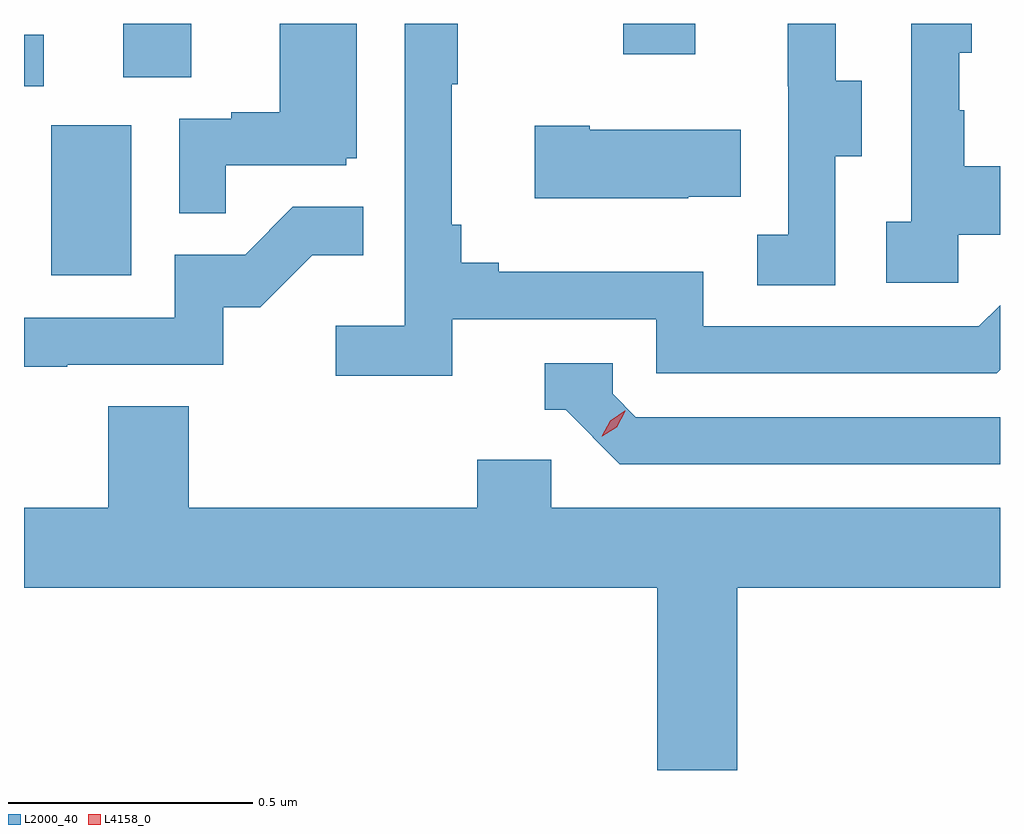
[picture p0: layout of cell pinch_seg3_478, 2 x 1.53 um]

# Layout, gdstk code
import gdstk
lib = gdstk.Library(unit=1e-6, precision=1e-09)
def R(c, l, rs):  # rectangles x0, y0, x1, y1
    for r in rs: c.add(gdstk.rectangle(r[:2], r[2:], *l))
def P(c, l, *ps):  # polygons
    for p in ps: c.add(gdstk.Polygon(p, *l))
L2000_40 = (2000, 40)
L4158_0 = (4158, 0)

pinch_seg3_478 = lib.new_cell('pinch_seg3_478')
R(pinch_seg3_478, L2000_40, [(895.034,680.244,895.198,680.551), (894.978,680.631,895.018,680.737), (895.181,680.65,895.321,680.759), (896.206,680.697,896.353,680.759)])
P(pinch_seg3_478, L2000_40, [(895.856,680.154),(896.274,680.154),(896.274,680.043),(896.971,680.043),(896.978,680.05),(896.978,680.183),(896.934,680.139),(896.37,680.139),(896.37,680.251),(895.951,680.251),(895.951,680.27),(895.874,680.27),(895.874,680.347),(895.855,680.347),(895.855,680.635),(895.867,680.635),(895.867,680.759),(895.758,680.759),(895.758,680.14),(895.617,680.14),(895.617,680.038),(895.856,680.038)],
  [(896.64,680.488),(896.695,680.488),(896.695,680.643),(896.641,680.643),(896.641,680.759),(896.543,680.759),(896.543,680.631),(896.544,680.631),(896.544,680.327),(896.481,680.327),(896.481,680.224),(896.64,680.224)],
  [(896.892,680.327),(896.978,680.327),(896.978,680.467),(896.905,680.467),(896.905,680.582),(896.895,680.582),(896.895,680.7),(896.92,680.7),(896.92,680.759),(896.796,680.759),(896.796,680.354),(896.745,680.354),(896.745,680.229),(896.892,680.229)],
  [(895.391,680.469),(895.638,680.469),(895.638,680.484),(895.66,680.484),(895.66,680.759),(895.502,680.759),(895.502,680.578),(895.403,680.578),(895.403,680.565),(895.296,680.565),(895.296,680.371),(895.391,680.371)],
  [(896.339,680.405),(896.447,680.405),(896.447,680.542),(896.137,680.542),(896.137,680.55),(896.025,680.55),(896.025,680.402),(896.339,680.402)],
  [(895.067,680.061),(895.386,680.061),(895.386,680.178),(895.462,680.178),(895.569,680.285),(895.673,680.285),(895.673,680.384),(895.529,680.384),(895.431,680.286),(895.287,680.286),(895.287,680.157),(894.978,680.157),(894.978,680.056),(895.067,680.056)],
  [(896.978,679.953),(896.232,679.953),(896.184,680.001),(896.184,680.064),(896.045,680.064),(896.045,679.968),(896.088,679.968),(896.199,679.857),(896.978,679.857)],
  [(896.44,679.604),(896.978,679.604),(896.978,679.768),(896.058,679.768),(896.058,679.866),(895.907,679.866),(895.907,679.768),(895.316,679.768),(895.316,679.976),(895.151,679.976),(895.151,679.768),(894.978,679.768),(894.978,679.604),(896.276,679.604),(896.276,679.23),(896.44,679.23)])
P(pinch_seg3_478, L4158_0, [(896.162,679.914),(896.162,679.914),(896.179,679.946),(896.209,679.966),(896.21,679.966),(896.21,679.965),(896.193,679.933),(896.163,679.914)])

lib.write_gds('pinch_seg3_478.gds')
